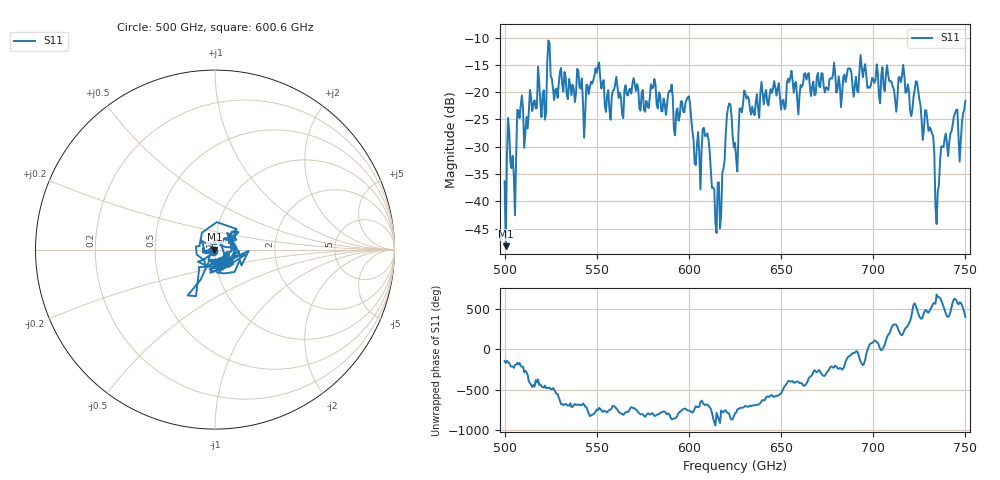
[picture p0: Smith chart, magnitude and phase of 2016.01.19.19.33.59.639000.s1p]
!Created with skrf (http://scikit-rf.org).
# GHz S RI R 50.0
!freq ReS11 ImS11
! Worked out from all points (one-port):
!   401 points, 500 GHz to 750 GHz, reference 50 ohm
!   lowest |S11| = -48.2 dB at 500.6 GHz (marker M1), VSWR 1.01, Z = 49.6 - j0.0814 ohm
!   |S11| at or under -10 dB: start of sweep to end of sweep
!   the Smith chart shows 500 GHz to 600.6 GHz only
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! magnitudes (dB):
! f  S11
! 500 GHz  -36.3
! 500.6 GHz  -48.2
! 503.1 GHz  -32.9
! 505 GHz  -35.3
! 508.1 GHz  -24.8
! 521.2 GHz  -19.7
! 524.4 GHz  -11.1
! 527.5 GHz  -19.5
! 531.2 GHz  -18.6
! 562.5 GHz  -20.1
! 580.6 GHz  -19.2
! 593.8 GHz  -23.0
! 599.4 GHz  -21.0
! 605 GHz  -27.3
! 609.4 GHz  -28.0
! 615.6 GHz  -36.6
! 618.1 GHz  -34.8
! 621.2 GHz  -22.8
! 625 GHz  -29.3
! 630.6 GHz  -20.2
! 656.2 GHz  -17.9
! 687.5 GHz  -15.7
! 718.8 GHz  -18.6
! 730 GHz  -27.1
! 735 GHz  -38.2
! 738.1 GHz  -30.1
! 747.5 GHz  -28.9
! 750 GHz  -21.6
